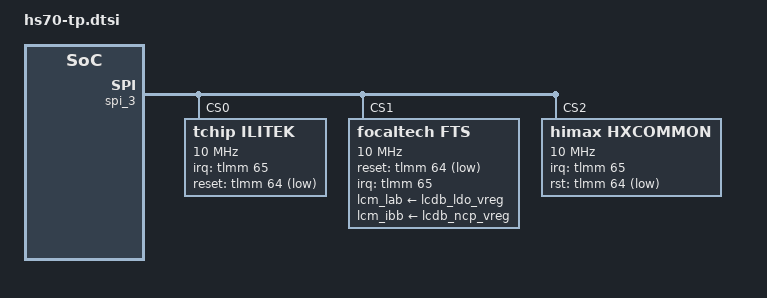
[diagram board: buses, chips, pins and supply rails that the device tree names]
&i2c_3{
	status = "disable";
};
&spi_3{
	status = "ok";
	ilitek@0{
		compatible = "tchip,ilitek";
		reg = <0x0>;
		spi-max-frequency = <10000000>;
		interrupt-parent = <&tlmm>;
		interrupts = <65 0x02>;
		touch,irq-gpio = <&tlmm 65 0x02>;
		touch,reset-gpio = <&tlmm 64 0x01>;
	};
	focaltech@1 {
		compatible = "focaltech,fts";
		reg = <0x1>;
		lcm_lab-supply = <&lcdb_ldo_vreg>;//Adding Power Properties
		lcm_ibb-supply = <&lcdb_ncp_vreg>;
		spi-max-frequency = <10000000>;
		interrupt-parent = <&tlmm>;
		interrupts = <65 0x2>;
		focaltech,reset-gpio = <&tlmm 64 0x01>;
		focaltech,irq-gpio = <&tlmm 65 0x02>;
		focaltech,max-touch-number = <10>;
		focaltech,display-coords =  <0 0 720 1560>;

		pinctrl-names = "pmx_ts_active","pmx_ts_suspend","pmx_ts_release";
		pinctrl-0 = <&ts_int_active &ts_reset_active>;
		pinctrl-1 = <&ts_int_suspend &ts_reset_suspend>;
		pinctrl-2 = <&ts_release>;
	};
	himax@2{
		compatible = "himax,hxcommon";
		reg = <0x2>;
		spi-max-frequency = <10000000>;
		interrupt-parent = <&tlmm>;
		interrupts = <65 0x02>;
		himax,panel-coords = <0 720 0 1560>;
		himax,display-coords = <0 720 0 1560>;
		himax,irq-gpio = <&tlmm 65 0x02>;
		himax,rst-gpio = <&tlmm 64 0x01>;
		himax,touch_info = <34 16 0 720 1560 10 0 1>;
		himax,vdd_1v8_always_on;
		report_type = <1>;
	};
};
